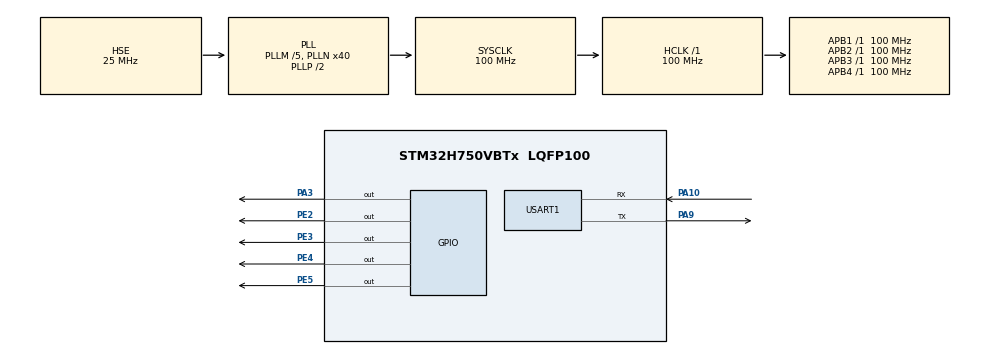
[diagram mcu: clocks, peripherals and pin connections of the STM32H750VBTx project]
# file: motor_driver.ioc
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FREERTOS.Tasks01=defaultTask,24,128,StartDefaultTask,Default,NULL,Dynamic,NULL,NULL
Mcu.Family=STM32H7
Mcu.Name=STM32H750VBTx
Mcu.Package=LQFP100
NVIC.PriorityGroup=NVIC_PRIORITYGROUP_4
NVIC.TIM3_IRQn=true\:5\:0\:false\:false\:true\:true\:true\:true
NVIC.TIM4_IRQn=true\:5\:0\:false\:false\:true\:true\:true\:true
PA10.Mode=Asynchronous
PA10.Signal=USART1_RX
PA3.GPIO_Speed=GPIO_SPEED_FREQ_HIGH
PA3.Signal=GPIO_Output
PA9.Mode=Asynchronous
PA9.Signal=USART1_TX
PE2.Signal=GPIO_Output
PE3.Signal=GPIO_Output
PE4.Signal=GPIO_Output
PE5.Signal=GPIO_Output
PH0-OSC_IN\ (PH0).Mode=HSE-External-Oscillator
PH0-OSC_IN\ (PH0).Signal=RCC_OSC_IN
PH1-OSC_OUT\ (PH1).Mode=HSE-External-Oscillator
PH1-OSC_OUT\ (PH1).Signal=RCC_OSC_OUT
ProjectManager.HeapSize=0x200
ProjectManager.StackSize=0x400
ProjectManager.TargetToolchain=STM32CubeIDE
RCC.ADCFreq_Value=50390625
RCC.APB1Freq_Value=100000000
RCC.APB2Freq_Value=100000000
RCC.APB3Freq_Value=100000000
RCC.APB4Freq_Value=100000000
RCC.CortexFreq_Value=100000000
RCC.DIVM1=5
RCC.DIVN1=40
RCC.HCLKFreq_Value=100000000
RCC.PLLSourceVirtual=RCC_PLLSOURCE_HSE
RCC.SYSCLKFreq_VALUE=100000000
RCC.SYSCLKSource=RCC_SYSCLKSOURCE_PLLCLK
RCC.USBFreq_Value=100000000
TIM3.Period=10000-1
TIM3.Prescaler=10000-1
TIM4.Period=1
TIM4.Prescaler=100-1
USART1.VirtualMode-Asynchronous=VM_ASYNC
VP_FREERTOS_VS_CMSIS_V2.Mode=CMSIS_V2
VP_TIM3_VS_ClockSourceINT.Mode=Internal
VP_TIM4_VS_ClockSourceINT.Mode=Internal
board=custom

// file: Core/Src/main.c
/* USER CODE BEGIN Header */
/**
  ******************************************************************************
  * @file           : main.c
  * @brief          : Main program body
  ******************************************************************************
  * @attention
  *
  * <h2><center>&copy; Copyright (c) 2020 STMicroelectronics.
  * All rights reserved.</center></h2>
  *
  * This software component is licensed by ST under BSD 3-Clause license,
  * the "License"; You may not use this file except in compliance with the
  * License. You may obtain a copy of the License at:
  *                        opensource.org/licenses/BSD-3-Clause
  *
  ******************************************************************************
  */
/* USER CODE END Header */

#include "main.h"
#include "cmsis_os.h"

TIM_HandleTypeDef htim3;
TIM_HandleTypeDef htim4;

UART_HandleTypeDef huart1;

/* Definitions for defaultTask */
osThreadId_t defaultTaskHandle;
const osThreadAttr_t defaultTask_attributes = {
  .name = "defaultTask",
  .priority = (osPriority_t) osPriorityNormal,
  .stack_size = 128 * 4
};
/* USER CODE BEGIN PV */
osThreadId_t testTaskHandle;
const osThreadAttr_t testTask_attributes = {
  .name = "defaultTask",
  .priority = (osPriority_t) osPriorityNormal,
  .stack_size = 128 * 4
};
/* USER CODE END PV */

void SystemClock_Config(void);
static void MX_GPIO_Init(void);
static void MX_USART1_UART_Init(void);
static void MX_TIM3_Init(void);
static void MX_TIM4_Init(void);
void StartDefaultTask(void *argument);
void testDefaultTask(void *argument);

/* USER CODE BEGIN 0 */
/* Private user code ---------------------------------------------------------*/
/* USER CODE BEGIN 0 */
#ifdef __GNUC__
/* With GCC/RAISONANCE, small printf (option LD Linker->Libraries->Small printf
   set to 'Yes') calls __io_putchar() */
#define PUTCHAR_PROTOTYPE int __io_putchar(int ch)
#else
#define PUTCHAR_PROTOTYPE int fputc(int ch, FILE *f)
#endif /* __GNUC__ */
/**
  * @brief  Retargets the C library printf function to the USART.
  * @param  None
  * @retval None
  */
PUTCHAR_PROTOTYPE
{

/* Place your implementation of fputc here */
  /* e.g. write a character to the USART1 and Loop until the end of transmission */
 HAL_UART_Transmit(&huart1, (uint8_t *)&ch, 1, 0xFFFF);
  return ch;
}

//电机转动
void motor_run_it(void)   //run in a interrupt
{
	static int flag = 0;
	printf("flag = %d \n", flag);
	switch(flag)
	{
	case 0:
		HAL_GPIO_WritePin(GPIOE, GPIO_PIN_2, GPIO_PIN_SET);
		HAL_GPIO_WritePin(GPIOE, GPIO_PIN_3, GPIO_PIN_RESET);
		HAL_GPIO_WritePin(GPIOE, GPIO_PIN_4, GPIO_PIN_RESET);
		HAL_GPIO_WritePin(GPIOE, GPIO_PIN_5, GPIO_PIN_RESET);
		flag++;
		break;
	case 1:
		HAL_GPIO_WritePin(GPIOE, GPIO_PIN_2, GPIO_PIN_RESET);
		HAL_GPIO_WritePin(GPIOE, GPIO_PIN_3, GPIO_PIN_SET);
		HAL_GPIO_WritePin(GPIOE, GPIO_PIN_4, GPIO_PIN_RESET);
		HAL_GPIO_WritePin(GPIOE, GPIO_PIN_5, GPIO_PIN_RESET);
		flag++;
		break;
	case 2:
		HAL_GPIO_WritePin(GPIOE, GPIO_PIN_2, GPIO_PIN_RESET);
		HAL_GPIO_WritePin(GPIOE, GPIO_PIN_3, GPIO_PIN_SET);
		HAL_GPIO_WritePin(GPIOE, GPIO_PIN_4, GPIO_PIN_RESET);
		HAL_GPIO_WritePin(GPIOE, GPIO_PIN_5, GPIO_PIN_RESET);
		flag++;
		break;
	case 3:
		HAL_GPIO_WritePin(GPIOE, GPIO_PIN_2, GPIO_PIN_RESET);
		HAL_GPIO_WritePin(GPIOE, GPIO_PIN_3, GPIO_PIN_RESET);
		HAL_GPIO_WritePin(GPIOE, GPIO_PIN_4, GPIO_PIN_RESET);
		HAL_GPIO_WritePin(GPIOE, GPIO_PIN_5, GPIO_PIN_SET);
		flag = 0;
		break;
	default:
		flag = 0;
	}
}

/* USER CODE END 0 */

int main(void)
{

  /* MCU Configuration--------------------------------------------------------*/

  /* Reset of all peripherals, Initializes the Flash interface and the Systick. */
  HAL_Init();

  /* Configure the system clock */
  SystemClock_Config();

  /* Initialize all configured peripherals */
  MX_GPIO_Init();
  MX_USART1_UART_Init();
  MX_TIM3_Init();
  MX_TIM4_Init();
  /* USER CODE BEGIN 2 */
  printf("system start run ....\n");
  HAL_TIM_Base_Start_IT(&htim3);
  HAL_TIM_Base_Start_IT(&htim4);
  /* USER CODE END 2 */

  /* Init scheduler */
  osKernelInitialize();

  /* Create the thread(s) */
  /* creation of defaultTask */
  defaultTaskHandle = osThreadNew(StartDefaultTask, NULL, &defaultTask_attributes);

  /* USER CODE BEGIN RTOS_THREADS */
  /* add threads, ... */
  testTaskHandle = osThreadNew(testDefaultTask, NULL, &testTask_attributes);
  /* USER CODE END RTOS_THREADS */

  /* Start scheduler */
  osKernelStart();

  /* We should never get here as control is now taken by the scheduler */
  /* Infinite loop */
  while (1)
  {

  }
}

void SystemClock_Config(void)
{
  RCC_OscInitTypeDef RCC_OscInitStruct = {0};
  RCC_ClkInitTypeDef RCC_ClkInitStruct = {0};
  RCC_PeriphCLKInitTypeDef PeriphClkInitStruct = {0};

  /** Supply configuration update enable
  */
  HAL_PWREx_ConfigSupply(PWR_LDO_SUPPLY);
  /** Configure the main internal regulator output voltage
  */
  __HAL_PWR_VOLTAGESCALING_CONFIG(PWR_REGULATOR_VOLTAGE_SCALE3);

  while(!__HAL_PWR_GET_FLAG(PWR_FLAG_VOSRDY)) {}
  /** Initializes the CPU, AHB and APB busses clocks
  */
  RCC_OscInitStruct.OscillatorType = RCC_OSCILLATORTYPE_HSE;
  RCC_OscInitStruct.HSEState = RCC_HSE_ON;
  RCC_OscInitStruct.PLL.PLLState = RCC_PLL_ON;
  RCC_OscInitStruct.PLL.PLLSource = RCC_PLLSOURCE_HSE;
  RCC_OscInitStruct.PLL.PLLM = 5;
  RCC_OscInitStruct.PLL.PLLN = 40;
  RCC_OscInitStruct.PLL.PLLP = 2;
  RCC_OscInitStruct.PLL.PLLQ = 2;
  RCC_OscInitStruct.PLL.PLLR = 2;
  RCC_OscInitStruct.PLL.PLLRGE = RCC_PLL1VCIRANGE_2;
  RCC_OscInitStruct.PLL.PLLVCOSEL = RCC_PLL1VCOWIDE;
  RCC_OscInitStruct.PLL.PLLFRACN = 0;
  if (HAL_RCC_OscConfig(&RCC_OscInitStruct) != HAL_OK)
  {
    Error_Handler();
  }
  /** Initializes the CPU, AHB and APB busses clocks
  */
  RCC_ClkInitStruct.ClockType = RCC_CLOCKTYPE_HCLK|RCC_CLOCKTYPE_SYSCLK
                              |RCC_CLOCKTYPE_PCLK1|RCC_CLOCKTYPE_PCLK2
                              |RCC_CLOCKTYPE_D3PCLK1|RCC_CLOCKTYPE_D1PCLK1;
  RCC_ClkInitStruct.SYSCLKSource = RCC_SYSCLKSOURCE_PLLCLK;
  RCC_ClkInitStruct.SYSCLKDivider = RCC_SYSCLK_DIV1;
  RCC_ClkInitStruct.AHBCLKDivider = RCC_HCLK_DIV1;
  RCC_ClkInitStruct.APB3CLKDivider = RCC_APB3_DIV1;
  RCC_ClkInitStruct.APB1CLKDivider = RCC_APB1_DIV1;
  RCC_ClkInitStruct.APB2CLKDivider = RCC_APB2_DIV1;
  RCC_ClkInitStruct.APB4CLKDivider = RCC_APB4_DIV1;

  if (HAL_RCC_ClockConfig(&RCC_ClkInitStruct, FLASH_LATENCY_1) != HAL_OK)
  {
    Error_Handler();
  }
  PeriphClkInitStruct.PeriphClockSelection = RCC_PERIPHCLK_USART1;
  PeriphClkInitStruct.Usart16ClockSelection = RCC_USART16CLKSOURCE_D2PCLK2;
  if (HAL_RCCEx_PeriphCLKConfig(&PeriphClkInitStruct) != HAL_OK)
  {
    Error_Handler();
  }
}

static void MX_TIM3_Init(void)
{

  TIM_ClockConfigTypeDef sClockSourceConfig = {0};
  TIM_MasterConfigTypeDef sMasterConfig = {0};

  htim3.Instance = TIM3;
  htim3.Init.Prescaler = 100;
  htim3.Init.CounterMode = TIM_COUNTERMODE_UP;
  htim3.Init.Period = 10000-1;
  htim3.Init.ClockDivision = TIM_CLOCKDIVISION_DIV1;
  htim3.Init.AutoReloadPreload = TIM_AUTORELOAD_PRELOAD_DISABLE;
  if (HAL_TIM_Base_Init(&htim3) != HAL_OK)
  {
    Error_Handler();
  }
  sClockSourceConfig.ClockSource = TIM_CLOCKSOURCE_INTERNAL;
  if (HAL_TIM_ConfigClockSource(&htim3, &sClockSourceConfig) != HAL_OK)
  {
    Error_Handler();
  }
  sMasterConfig.MasterOutputTrigger = TIM_TRGO_RESET;
  sMasterConfig.MasterSlaveMode = TIM_MASTERSLAVEMODE_DISABLE;
  if (HAL_TIMEx_MasterConfigSynchronization(&htim3, &sMasterConfig) != HAL_OK)
  {
    Error_Handler();
  }
  /* USER CODE BEGIN TIM3_Init 2 */
  printf("interupt success \n");
  /* USER CODE END TIM3_Init 2 */

}

static void MX_TIM4_Init(void)
{

  TIM_ClockConfigTypeDef sClockSourceConfig = {0};
  TIM_MasterConfigTypeDef sMasterConfig = {0};

  htim4.Instance = TIM4;
  htim4.Init.Prescaler = 100;						//100MHz 分频之后1MHz  1us
  htim4.Init.CounterMode = TIM_COUNTERMODE_UP;
  htim4.Init.Period = 10000 - 1;						//10000us 10ms 800hz
  htim4.Init.ClockDivision = TIM_CLOCKDIVISION_DIV1;
  htim4.Init.AutoReloadPreload = TIM_AUTORELOAD_PRELOAD_DISABLE;
  if (HAL_TIM_Base_Init(&htim4) != HAL_OK)
  {
    Error_Handler();
  }
  sClockSourceConfig.ClockSource = TIM_CLOCKSOURCE_INTERNAL;
  if (HAL_TIM_ConfigClockSource(&htim4, &sClockSourceConfig) != HAL_OK)
  {
    Error_Handler();
  }
  sMasterConfig.MasterOutputTrigger = TIM_TRGO_RESET;
  sMasterConfig.MasterSlaveMode = TIM_MASTERSLAVEMODE_DISABLE;
  if (HAL_TIMEx_MasterConfigSynchronization(&htim4, &sMasterConfig) != HAL_OK)
  {
    Error_Handler();
  }

}

static void MX_USART1_UART_Init(void)
{

  huart1.Instance = USART1;
  huart1.Init.BaudRate = 115200;
  huart1.Init.WordLength = UART_WORDLENGTH_8B;
  huart1.Init.StopBits = UART_STOPBITS_1;
  huart1.Init.Parity = UART_PARITY_NONE;
  huart1.Init.Mode = UART_MODE_TX_RX;
  huart1.Init.HwFlowCtl = UART_HWCONTROL_NONE;
  huart1.Init.OverSampling = UART_OVERSAMPLING_16;
  huart1.Init.OneBitSampling = UART_ONE_BIT_SAMPLE_DISABLE;
  huart1.Init.ClockPrescaler = UART_PRESCALER_DIV1;
  huart1.AdvancedInit.AdvFeatureInit = UART_ADVFEATURE_NO_INIT;
  if (HAL_UART_Init(&huart1) != HAL_OK)
  {
    Error_Handler();
  }
  if (HAL_UARTEx_SetTxFifoThreshold(&huart1, UART_TXFIFO_THRESHOLD_1_8) != HAL_OK)
  {
    Error_Handler();
  }
  if (HAL_UARTEx_SetRxFifoThreshold(&huart1, UART_RXFIFO_THRESHOLD_1_8) != HAL_OK)
  {
    Error_Handler();
  }
  if (HAL_UARTEx_DisableFifoMode(&huart1) != HAL_OK)
  {
    Error_Handler();
  }

}

static void MX_GPIO_Init(void)
{
  GPIO_InitTypeDef GPIO_InitStruct = {0};

  /* GPIO Ports Clock Enable */
  __HAL_RCC_GPIOE_CLK_ENABLE();
  __HAL_RCC_GPIOH_CLK_ENABLE();
  __HAL_RCC_GPIOA_CLK_ENABLE();

  /*Configure GPIO pin Output Level */
  HAL_GPIO_WritePin(GPIOE, GPIO_PIN_2|GPIO_PIN_3|GPIO_PIN_4|GPIO_PIN_5, GPIO_PIN_RESET);

  /*Configure GPIO pin Output Level */
  HAL_GPIO_WritePin(GPIOA, GPIO_PIN_3, GPIO_PIN_RESET);

  /*Configure GPIO pins : PE2 PE3 PE4 PE5 */
  GPIO_InitStruct.Pin = GPIO_PIN_2|GPIO_PIN_3|GPIO_PIN_4|GPIO_PIN_5;
  GPIO_InitStruct.Mode = GPIO_MODE_OUTPUT_PP;
  GPIO_InitStruct.Pull = GPIO_NOPULL;
  GPIO_InitStruct.Speed = GPIO_SPEED_FREQ_LOW;
  HAL_GPIO_Init(GPIOE, &GPIO_InitStruct);

  /*Configure GPIO pin : PA3 */
  GPIO_InitStruct.Pin = GPIO_PIN_3;
  GPIO_InitStruct.Mode = GPIO_MODE_OUTPUT_PP;
  GPIO_InitStruct.Pull = GPIO_NOPULL;
  GPIO_InitStruct.Speed = GPIO_SPEED_FREQ_HIGH;
  HAL_GPIO_Init(GPIOA, &GPIO_InitStruct);

}

/* USER CODE BEGIN 4 */
void HAL_TIM_PeriodElapsedCallback(TIM_HandleTypeDef *htim)

{
	static unsigned int count = 0;
    if (htim->Instance == htim3.Instance)
	{
    	//motor_run_it();
	}
    else if(htim->Instance == htim4.Instance)
    {
    	//motor_run_it();
    	//count ++;
    	//printf("count = %d \n", count);					//测试出来一秒100条记录 即10ms一次中断

    }

}

void DelayUs(unsigned int us)
{
	HAL_TIM_Base_Start_IT(&htim4);

	uint16_t differ=0xffff-us-5;

    __HAL_TIM_SetCounter(&htim4,differ);

    while(differ<0xffff-5)
    {
        differ=__HAL_TIM_GetCounter(&htim4);
    }

	HAL_TIM_Base_Stop_IT(&htim4);

	//�??要使用定时器
//    u32 temp;
//    SysTick->LOAD=us*1;             //加载时间
//    SysTick->VAL=0x00;                   //清空计时�??
//    SysTick->CTRL|=SysTick_CTRL_ENABLE_Msk;
//    do
//    {
//        temp=SysTick->CTRL;
//    }
//    while(temp&0x01&&!(temp&(1<<16)));         //等待时间到达
//    SysTick->CTRL&=~SysTick_CTRL_ENABLE_Msk;   //关闭计时�??
//    SysTick->VAL=0x00;                         //清空计时�??
}

void testDefaultTask(void *argument)
{
	int count = 0;
	while(1)
	{
//		HAL_TIM_Base_Start_IT(&htim4);
//
//		uint16_t differ=0xffff-us-5;
//
//		__HAL_TIM_SetCounter(&htim4,differ);
//
//		while(differ<0xffff-5)
//		{
//			differ=__HAL_TIM_GetCounter(&htim4);
//		}
//
//		HAL_TIM_Base_Stop_IT(&htim4);
//		count ++;
//		printf("test timer count = %d \n", count);
		osDelay(10);
	}
}

//反转速度调节 A D C B
void motor_control_F(int n)
{
	HAL_GPIO_WritePin(GPIOE, GPIO_PIN_2, GPIO_PIN_SET);
	osDelay(n);

	HAL_GPIO_WritePin(GPIOE, GPIO_PIN_2, GPIO_PIN_RESET);
	HAL_GPIO_WritePin(GPIOE, GPIO_PIN_3, GPIO_PIN_SET);
	osDelay(n);

	HAL_GPIO_WritePin(GPIOE, GPIO_PIN_3, GPIO_PIN_RESET);
	HAL_GPIO_WritePin(GPIOE, GPIO_PIN_4, GPIO_PIN_SET);
	osDelay(n);

	HAL_GPIO_WritePin(GPIOE, GPIO_PIN_4, GPIO_PIN_RESET);
	HAL_GPIO_WritePin(GPIOE, GPIO_PIN_5, GPIO_PIN_SET);
	osDelay(n);

	HAL_GPIO_WritePin(GPIOE, GPIO_PIN_5, GPIO_PIN_RESET);
}
//正转	A B C D
void motor_control_Z(int n)
{
	HAL_GPIO_WritePin(GPIOE, GPIO_PIN_3, GPIO_PIN_SET);
	osDelay(n);

	HAL_GPIO_WritePin(GPIOE, GPIO_PIN_3, GPIO_PIN_RESET);
	HAL_GPIO_WritePin(GPIOE, GPIO_PIN_2, GPIO_PIN_SET);
	osDelay(n);

	HAL_GPIO_WritePin(GPIOE, GPIO_PIN_2, GPIO_PIN_RESET);
	HAL_GPIO_WritePin(GPIOE, GPIO_PIN_5, GPIO_PIN_SET);
	osDelay(n);

	HAL_GPIO_WritePin(GPIOE, GPIO_PIN_5, GPIO_PIN_RESET);
	HAL_GPIO_WritePin(GPIOE, GPIO_PIN_4, GPIO_PIN_SET);
	osDelay(n);

	HAL_GPIO_WritePin(GPIOE, GPIO_PIN_4, GPIO_PIN_RESET);

#if 0
	HAL_GPIO_WritePin(GPIOE, GPIO_PIN_5, GPIO_PIN_RESET);
	HAL_GPIO_WritePin(GPIOE, GPIO_PIN_2, GPIO_PIN_SET);
	osDelay(n);

	HAL_GPIO_WritePin(GPIOE, GPIO_PIN_2, GPIO_PIN_SET);
	HAL_GPIO_WritePin(GPIOE, GPIO_PIN_3, GPIO_PIN_SET);
	osDelay(n);

	HAL_GPIO_WritePin(GPIOE, GPIO_PIN_2, GPIO_PIN_RESET);
	HAL_GPIO_WritePin(GPIOE, GPIO_PIN_3, GPIO_PIN_SET);
	osDelay(n);

	HAL_GPIO_WritePin(GPIOE, GPIO_PIN_3, GPIO_PIN_SET);
	HAL_GPIO_WritePin(GPIOE, GPIO_PIN_4, GPIO_PIN_SET);
	osDelay(n);

	HAL_GPIO_WritePin(GPIOE, GPIO_PIN_3, GPIO_PIN_RESET);
	HAL_GPIO_WritePin(GPIOE, GPIO_PIN_4, GPIO_PIN_SET);
	osDelay(n);

	HAL_GPIO_WritePin(GPIOE, GPIO_PIN_4, GPIO_PIN_SET);
	HAL_GPIO_WritePin(GPIOE, GPIO_PIN_5, GPIO_PIN_SET);
	osDelay(n);

	HAL_GPIO_WritePin(GPIOE, GPIO_PIN_4, GPIO_PIN_RESET);
	HAL_GPIO_WritePin(GPIOE, GPIO_PIN_5, GPIO_PIN_SET);
	osDelay(n);

	HAL_GPIO_WritePin(GPIOE, GPIO_PIN_5, GPIO_PIN_SET);
	HAL_GPIO_WritePin(GPIOE, GPIO_PIN_2, GPIO_PIN_SET);
	osDelay(n);
#endif
}
/* USER CODE END 4 */

void StartDefaultTask(void *argument)
{
  /* USER CODE BEGIN 5 */
  int i = 0 ;
  /* Infinite loop */
  for(;;)
  {
	  /*
	  //正转5圈
	  for(i = 0; i < 8 * 64 * 5; i ++)
	  {
		  motor_control_Z(3);
	  }
	  printf("正转ok.....\n");
	  osDelay(2000);

	  for(i = 0; i < 8 * 64 * 5; i ++)
	  {
		  motor_control_F(3);
	  }
	  printf("反转ok.....\n");
	  osDelay(2000);
	  */
	  //正转
	  motor_control_Z(3);
  }
  /* USER CODE END 5 */
}

void Error_Handler(void)
{
}

/************************ (C) COPYRIGHT STMicroelectronics *****END OF FILE****/
